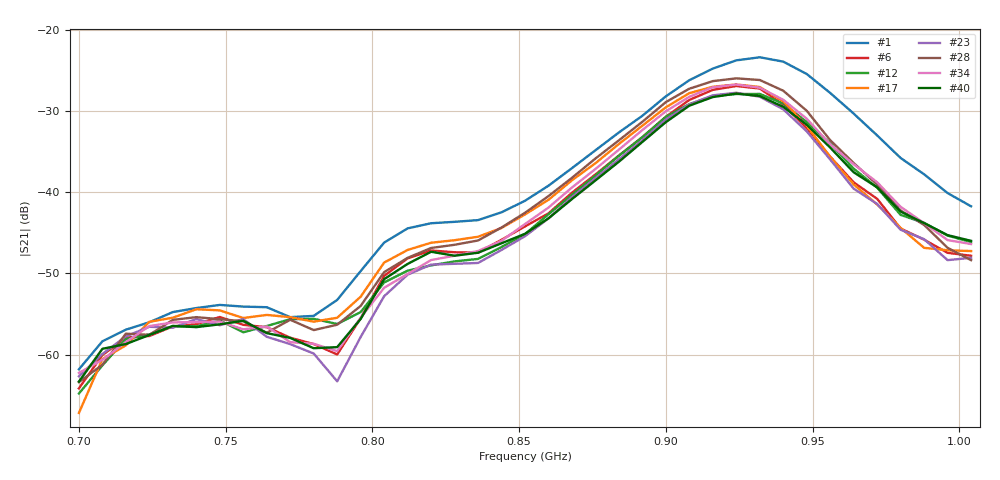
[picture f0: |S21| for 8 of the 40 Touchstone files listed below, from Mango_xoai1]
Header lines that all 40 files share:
# Hz S RI R 50
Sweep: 700 MHz to 1.004 GHz
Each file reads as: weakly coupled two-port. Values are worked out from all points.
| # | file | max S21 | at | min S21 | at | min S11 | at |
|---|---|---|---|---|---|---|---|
| 1 | moitruongxoai.s2p | -23.39 dB | 932 MHz | -61.8 dB | 700 MHz | -20.7 dB | 932 MHz |
| 2 | xoai1.s2p | -26.84 dB | 932 MHz | -65.4 dB | 700 MHz | -20.7 dB | 924 MHz |
| 3 | xoai1x180 (1).s2p | -27.05 dB | 924 MHz | -63.5 dB | 700 MHz | -16.4 dB | 924 MHz |
| 4 | xoai1x180 (2).s2p | -25.76 dB | 924 MHz | -63.4 dB | 700 MHz | -20.4 dB | 924 MHz |
| 5 | xoai1x180 (3).s2p | -26.43 dB | 932 MHz | -65.2 dB | 700 MHz | -18.9 dB | 924 MHz |
| 6 | xoai1x180 (4).s2p | -26.93 dB | 924 MHz | -64.2 dB | 700 MHz | -19.1 dB | 924 MHz |
| 7 | xoai1x180 (5).s2p | -26.44 dB | 924 MHz | -63.6 dB | 700 MHz | -16.9 dB | 924 MHz |
| 8 | xoai1x180 (6).s2p | -26.28 dB | 924 MHz | -64.8 dB | 700 MHz | -17.0 dB | 932 MHz |
| 9 | xoai1x180 (7).s2p | -29.48 dB | 924 MHz | -63.3 dB | 700 MHz | -18.7 dB | 924 MHz |
| 10 | xoai1x180 (8).s2p | -26.91 dB | 924 MHz | -63.1 dB | 700 MHz | -17.1 dB | 924 MHz |
| 11 | xoai1x180 (9).s2p | -27.06 dB | 932 MHz | -63.4 dB | 700 MHz | -17.8 dB | 932 MHz |
| 12 | xoai1x180 (10).s2p | -27.90 dB | 932 MHz | -64.8 dB | 700 MHz | -19.3 dB | 924 MHz |
| 13 | xoai1x180 (11).s2p | -26.14 dB | 924 MHz | -63.8 dB | 700 MHz | -18.9 dB | 932 MHz |
| 14 | xoai1x180 (12).s2p | -27.07 dB | 932 MHz | -63.5 dB | 700 MHz | -22.3 dB | 924 MHz |
| 15 | xoai1x180 (13).s2p | -26.75 dB | 924 MHz | -64.5 dB | 700 MHz | -19.7 dB | 924 MHz |
| 16 | xoai1x180 (14).s2p | -27.05 dB | 924 MHz | -63.6 dB | 700 MHz | -19.8 dB | 924 MHz |
| 17 | xoai1x180 (15).s2p | -26.74 dB | 924 MHz | -67.2 dB | 700 MHz | -18.0 dB | 924 MHz |
| 18 | xoai1x180 (16).s2p | -26.96 dB | 924 MHz | -64.0 dB | 700 MHz | -18.8 dB | 924 MHz |
| 19 | xoai1x180 (17).s2p | -26.37 dB | 924 MHz | -63.0 dB | 700 MHz | -14.6 dB | 916 MHz |
| 20 | xoai1x180 (18).s2p | -26.52 dB | 924 MHz | -63.3 dB | 700 MHz | -18.6 dB | 924 MHz |
| 21 | xoai1x180 (19).s2p | -27.97 dB | 924 MHz | -62.6 dB | 700 MHz | -19.2 dB | 916 MHz |
| 22 | xoai1x180 (20).s2p | -28.05 dB | 924 MHz | -63.5 dB | 700 MHz | -20.3 dB | 916 MHz |
| 23 | xoai1x180 (21).s2p | -27.76 dB | 924 MHz | -63.3 dB | 788 MHz | -18.2 dB | 924 MHz |
| 24 | xoai1x180 (22).s2p | -27.95 dB | 932 MHz | -65.8 dB | 700 MHz | -20.2 dB | 924 MHz |
| 25 | xoai1x180 (23).s2p | -26.35 dB | 916 MHz | -64.6 dB | 700 MHz | -18.1 dB | 924 MHz |
| 26 | xoai1x180 (24).s2p | -27.54 dB | 916 MHz | -64.5 dB | 700 MHz | -18.9 dB | 924 MHz |
| 27 | xoai1x180 (25).s2p | -27.28 dB | 924 MHz | -62.9 dB | 700 MHz | -15.7 dB | 924 MHz |
| 28 | xoai1x180 (26).s2p | -25.99 dB | 924 MHz | -63.4 dB | 700 MHz | -19.0 dB | 924 MHz |
| 29 | xoai1x180 (27).s2p | -25.94 dB | 924 MHz | -65.3 dB | 700 MHz | -18.3 dB | 924 MHz |
| 30 | xoai1x180 (28).s2p | -26.62 dB | 924 MHz | -64.3 dB | 700 MHz | -16.8 dB | 924 MHz |
| 31 | xoai1x180 (29).s2p | -27.91 dB | 924 MHz | -63.6 dB | 700 MHz | -23.2 dB | 924 MHz |
| 32 | xoai1x180 (30).s2p | -26.97 dB | 924 MHz | -62.6 dB | 700 MHz | -18.4 dB | 924 MHz |
| 33 | xoai1x180 (31).s2p | -27.01 dB | 916 MHz | -65.7 dB | 700 MHz | -17.3 dB | 924 MHz |
| 34 | xoai1x180 (32).s2p | -26.75 dB | 924 MHz | -62.3 dB | 700 MHz | -19.3 dB | 932 MHz |
| 35 | xoai1x180 (33).s2p | -26.17 dB | 924 MHz | -63.2 dB | 700 MHz | -16.9 dB | 924 MHz |
| 36 | xoai1x180 (34).s2p | -26.91 dB | 924 MHz | -62.5 dB | 700 MHz | -15.5 dB | 924 MHz |
| 37 | xoai1x180 (35).s2p | -27.04 dB | 924 MHz | -62.7 dB | 700 MHz | -15.5 dB | 924 MHz |
| 38 | xoai1x180 (36).s2p | -26.36 dB | 924 MHz | -63.2 dB | 700 MHz | -15.2 dB | 924 MHz |
| 39 | xoai1x180 (37).s2p | -26.41 dB | 924 MHz | -64.0 dB | 700 MHz | -19.9 dB | 924 MHz |
| 40 | xoai1x180 (38).s2p | -27.86 dB | 924 MHz | -63.3 dB | 700 MHz | -16.0 dB | 924 MHz |
